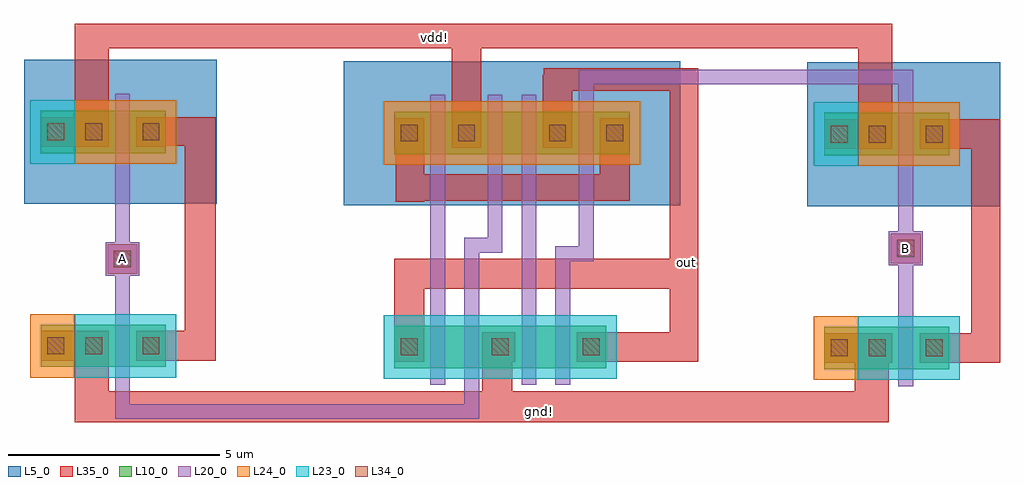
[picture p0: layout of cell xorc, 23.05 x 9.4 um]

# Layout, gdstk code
from math import pi, radians
import gdstk
lib = gdstk.Library(unit=1e-6, precision=1e-09)
def R(c, l, rs):  # rectangles x0, y0, x1, y1
    for r in rs: c.add(gdstk.rectangle(r[:2], r[2:], *l))
L5_0 = (5, 0)
L10_0 = (10, 0)
L20_0 = (20, 0)
L23_0 = (23, 0)
L24_0 = (24, 0)
L34_0 = (34, 0)
L35_0 = (35, 0)

nmos4_cdns_713966820610 = lib.new_cell('nmos4_CDNS_713966820610')
R(nmos4_cdns_713966820610, L10_0, [(0,0.85,1,0.9), (0,1.15,1,1.65)])
R(nmos4_cdns_713966820610, L23_0, [(-0.25,0.6,1.25,1.9)])
nmos4_cdns_713966820610.add(gdstk.FlexPath([(1,1.025),(1.4,1.025)], 0.35, ends="flush", simple_path=True, layer=20, datatype=0))  # L20_0
nmos4_cdns_713966820610.add(gdstk.FlexPath([(-0.4,1.025),(0,1.025)], 0.35, ends="flush", simple_path=True, layer=20, datatype=0))  # L20_0
nmos4_cdns_713966820610.add(gdstk.FlexPath([(0,1.025),(1,1.025)], 0.35, ends="flush", simple_path=True, layer=20, datatype=0))  # L20_0
nmos4_cdns_713966820610.add(gdstk.FlexPath([(0,1.025),(1,1.025)], 0.35, ends="flush", simple_path=True, layer=10, datatype=0))  # L10_0

nmos4_cdns_713966820611 = lib.new_cell('nmos4_CDNS_713966820611')
R(nmos4_cdns_713966820611, L10_0, [(0,-0.2,1,0), (0,0.35,1,0.9), (0,1.15,1,1.7)])
R(nmos4_cdns_713966820611, L23_0, [(-0.25,-0.1,1.25,2.3)])
R(nmos4_cdns_713966820611, L24_0, [(-0.25,-1.15,1.25,-0.1)])
R(nmos4_cdns_713966820611, L34_0, [(0.3,-0.75,0.7,-0.35), (0.3,0.15,0.7,0.55), (0.3,1.5,0.7,1.9)])
R(nmos4_cdns_713966820611, L35_0, [(0.15,-0.2,0.85,0)])
nmos4_cdns_713966820611.add(gdstk.FlexPath([(1,1.025),(1.4,1.025)], 0.35, ends="flush", simple_path=True, layer=20, datatype=0))  # L20_0
nmos4_cdns_713966820611.add(gdstk.FlexPath([(-0.4,1.025),(0,1.025)], 0.35, ends="flush", simple_path=True, layer=20, datatype=0))  # L20_0
nmos4_cdns_713966820611.add(gdstk.FlexPath([(0,1.025),(1,1.025)], 0.35, ends="flush", simple_path=True, layer=20, datatype=0))  # L20_0
nmos4_cdns_713966820611.add(gdstk.FlexPath([(0,-0.55),(1,-0.55)], 0.7, ends="flush", simple_path=True, layer=10, datatype=0))  # L10_0
nmos4_cdns_713966820611.add(gdstk.FlexPath([(0,1.7),(1,1.7)], 0.7, ends="flush", simple_path=True, layer=10, datatype=0))  # L10_0
nmos4_cdns_713966820611.add(gdstk.FlexPath([(0,0.35),(1,0.35)], 0.7, ends="flush", simple_path=True, layer=10, datatype=0))  # L10_0
nmos4_cdns_713966820611.add(gdstk.FlexPath([(0,1.025),(1,1.025)], 0.35, ends="flush", simple_path=True, layer=10, datatype=0))  # L10_0
nmos4_cdns_713966820611.add(gdstk.FlexPath([(0.15,-0.55),(0.85,-0.55)], 0.7, ends="flush", simple_path=True, layer=35, datatype=0))  # L35_0
nmos4_cdns_713966820611.add(gdstk.FlexPath([(0.15,1.7),(0.85,1.7)], 0.7, ends="flush", simple_path=True, layer=35, datatype=0))  # L35_0
nmos4_cdns_713966820611.add(gdstk.FlexPath([(0.15,0.35),(0.85,0.35)], 0.7, ends="flush", simple_path=True, layer=35, datatype=0))  # L35_0
nmos4_cdns_713966820611.add(gdstk.Label('B', (0.5,-0.55), layer=61, texttype=0))
nmos4_cdns_713966820611.add(gdstk.Label('D', (0.5,1.7), layer=61, texttype=0))
nmos4_cdns_713966820611.add(gdstk.Label('S', (0.5,0.35), layer=61, texttype=0))

nmos4_cdns_713966820612 = lib.new_cell('nmos4_CDNS_713966820612')
R(nmos4_cdns_713966820612, L10_0, [(0,-0.15,1,0.9), (0,1.15,1,1.2)])
R(nmos4_cdns_713966820612, L23_0, [(-0.25,-0.25,1.25,1.45)])
R(nmos4_cdns_713966820612, L34_0, [(0.3,0.15,0.7,0.55)])
nmos4_cdns_713966820612.add(gdstk.FlexPath([(1,1.025),(1.4,1.025)], 0.35, ends="flush", simple_path=True, layer=20, datatype=0))  # L20_0
nmos4_cdns_713966820612.add(gdstk.FlexPath([(-0.4,1.025),(0,1.025)], 0.35, ends="flush", simple_path=True, layer=20, datatype=0))  # L20_0
nmos4_cdns_713966820612.add(gdstk.FlexPath([(0,1.025),(1,1.025)], 0.35, ends="flush", simple_path=True, layer=20, datatype=0))  # L20_0
nmos4_cdns_713966820612.add(gdstk.FlexPath([(0,0.35),(1,0.35)], 0.7, ends="flush", simple_path=True, layer=10, datatype=0))  # L10_0
nmos4_cdns_713966820612.add(gdstk.FlexPath([(0,1.025),(1,1.025)], 0.35, ends="flush", simple_path=True, layer=10, datatype=0))  # L10_0
nmos4_cdns_713966820612.add(gdstk.FlexPath([(0.15,0.35),(0.85,0.35)], 0.7, ends="flush", simple_path=True, layer=35, datatype=0))  # L35_0
nmos4_cdns_713966820612.add(gdstk.Label('S', (0.5,0.35), layer=61, texttype=0))

pmos4_cdns_713966820613 = lib.new_cell('pmos4_CDNS_713966820613')
R(pmos4_cdns_713966820613, L5_0, [(-1.2,-1.3,2.2,3.25), (-1.2,-1.3,2.2,3.25)])
R(pmos4_cdns_713966820613, L10_0, [(0,-0.2,1,0), (0,0.35,1,0.9), (0,1.15,1,1.7)])
R(pmos4_cdns_713966820613, L23_0, [(-0.25,-1.15,1.25,-0.1)])
R(pmos4_cdns_713966820613, L24_0, [(-0.25,-0.1,1.25,2.3)])
R(pmos4_cdns_713966820613, L34_0, [(0.3,-0.75,0.7,-0.35), (0.3,0.15,0.7,0.55), (0.3,1.5,0.7,1.9)])
R(pmos4_cdns_713966820613, L35_0, [(0.15,-0.2,0.85,0)])
pmos4_cdns_713966820613.add(gdstk.FlexPath([(1,1.025),(1.4,1.025)], 0.35, ends="flush", simple_path=True, layer=20, datatype=0))  # L20_0
pmos4_cdns_713966820613.add(gdstk.FlexPath([(-0.4,1.025),(0,1.025)], 0.35, ends="flush", simple_path=True, layer=20, datatype=0))  # L20_0
pmos4_cdns_713966820613.add(gdstk.FlexPath([(0,1.025),(1,1.025)], 0.35, ends="flush", simple_path=True, layer=20, datatype=0))  # L20_0
pmos4_cdns_713966820613.add(gdstk.FlexPath([(0,-0.55),(1,-0.55)], 0.7, ends="flush", simple_path=True, layer=10, datatype=0))  # L10_0
pmos4_cdns_713966820613.add(gdstk.FlexPath([(0,1.7),(1,1.7)], 0.7, ends="flush", simple_path=True, layer=10, datatype=0))  # L10_0
pmos4_cdns_713966820613.add(gdstk.FlexPath([(0,0.35),(1,0.35)], 0.7, ends="flush", simple_path=True, layer=10, datatype=0))  # L10_0
pmos4_cdns_713966820613.add(gdstk.FlexPath([(0,1.025),(1,1.025)], 0.35, ends="flush", simple_path=True, layer=10, datatype=0))  # L10_0
pmos4_cdns_713966820613.add(gdstk.FlexPath([(0.15,-0.55),(0.85,-0.55)], 0.7, ends="flush", simple_path=True, layer=35, datatype=0))  # L35_0
pmos4_cdns_713966820613.add(gdstk.FlexPath([(0.15,1.7),(0.85,1.7)], 0.7, ends="flush", simple_path=True, layer=35, datatype=0))  # L35_0
pmos4_cdns_713966820613.add(gdstk.FlexPath([(0.15,0.35),(0.85,0.35)], 0.7, ends="flush", simple_path=True, layer=35, datatype=0))  # L35_0
pmos4_cdns_713966820613.add(gdstk.Label('B', (0.5,-0.55), layer=61, texttype=0))
pmos4_cdns_713966820613.add(gdstk.Label('D', (0.5,1.7), layer=61, texttype=0))
pmos4_cdns_713966820613.add(gdstk.Label('S', (0.5,0.35), layer=61, texttype=0))

nmos4_cdns_713966820614 = lib.new_cell('nmos4_CDNS_713966820614')
R(nmos4_cdns_713966820614, L10_0, [(0,0.4,1,0.9), (0,1.15,1,1.7)])
R(nmos4_cdns_713966820614, L23_0, [(-0.25,0.15,1.25,2.3)])
R(nmos4_cdns_713966820614, L34_0, [(0.3,1.5,0.7,1.9)])
nmos4_cdns_713966820614.add(gdstk.FlexPath([(1,1.025),(1.4,1.025)], 0.35, ends="flush", simple_path=True, layer=20, datatype=0))  # L20_0
nmos4_cdns_713966820614.add(gdstk.FlexPath([(-0.4,1.025),(0,1.025)], 0.35, ends="flush", simple_path=True, layer=20, datatype=0))  # L20_0
nmos4_cdns_713966820614.add(gdstk.FlexPath([(0,1.025),(1,1.025)], 0.35, ends="flush", simple_path=True, layer=20, datatype=0))  # L20_0
nmos4_cdns_713966820614.add(gdstk.FlexPath([(0,1.7),(1,1.7)], 0.7, ends="flush", simple_path=True, layer=10, datatype=0))  # L10_0
nmos4_cdns_713966820614.add(gdstk.FlexPath([(0,1.025),(1,1.025)], 0.35, ends="flush", simple_path=True, layer=10, datatype=0))  # L10_0
nmos4_cdns_713966820614.add(gdstk.FlexPath([(0.15,1.7),(0.85,1.7)], 0.7, ends="flush", simple_path=True, layer=35, datatype=0))  # L35_0
nmos4_cdns_713966820614.add(gdstk.Label('D', (0.5,1.7), layer=61, texttype=0))

nmos4_cdns_713966820615 = lib.new_cell('nmos4_CDNS_713966820615')
R(nmos4_cdns_713966820615, L10_0, [(0,0.85,1,0.9), (0,1.15,1,1.7)])
R(nmos4_cdns_713966820615, L23_0, [(-0.25,0.6,1.25,2.3)])
R(nmos4_cdns_713966820615, L34_0, [(0.3,1.5,0.7,1.9)])
nmos4_cdns_713966820615.add(gdstk.FlexPath([(1,1.025),(1.4,1.025)], 0.35, ends="flush", simple_path=True, layer=20, datatype=0))  # L20_0
nmos4_cdns_713966820615.add(gdstk.FlexPath([(-0.4,1.025),(0,1.025)], 0.35, ends="flush", simple_path=True, layer=20, datatype=0))  # L20_0
nmos4_cdns_713966820615.add(gdstk.FlexPath([(0,1.025),(1,1.025)], 0.35, ends="flush", simple_path=True, layer=20, datatype=0))  # L20_0
nmos4_cdns_713966820615.add(gdstk.FlexPath([(0,1.7),(1,1.7)], 0.7, ends="flush", simple_path=True, layer=10, datatype=0))  # L10_0
nmos4_cdns_713966820615.add(gdstk.FlexPath([(0,1.025),(1,1.025)], 0.35, ends="flush", simple_path=True, layer=10, datatype=0))  # L10_0
nmos4_cdns_713966820615.add(gdstk.FlexPath([(0.15,1.7),(0.85,1.7)], 0.7, ends="flush", simple_path=True, layer=35, datatype=0))  # L35_0
nmos4_cdns_713966820615.add(gdstk.Label('D', (0.5,1.7), layer=61, texttype=0))

pmos4_cdns_713966820616 = lib.new_cell('pmos4_CDNS_713966820616')
R(pmos4_cdns_713966820616, L5_0, [(-1.2,-0.35,2.2,2.85), (-1.2,-0.35,2.2,2.85)])
R(pmos4_cdns_713966820616, L10_0, [(0,0.85,1,0.9), (0,1.15,1,1.65)])
R(pmos4_cdns_713966820616, L24_0, [(-0.25,0.6,1.25,1.9)])
pmos4_cdns_713966820616.add(gdstk.FlexPath([(1,1.025),(1.4,1.025)], 0.35, ends="flush", simple_path=True, layer=20, datatype=0))  # L20_0
pmos4_cdns_713966820616.add(gdstk.FlexPath([(-0.4,1.025),(0,1.025)], 0.35, ends="flush", simple_path=True, layer=20, datatype=0))  # L20_0
pmos4_cdns_713966820616.add(gdstk.FlexPath([(0,1.025),(1,1.025)], 0.35, ends="flush", simple_path=True, layer=20, datatype=0))  # L20_0
pmos4_cdns_713966820616.add(gdstk.FlexPath([(0,1.025),(1,1.025)], 0.35, ends="flush", simple_path=True, layer=10, datatype=0))  # L10_0

pmos4_cdns_713966820617 = lib.new_cell('pmos4_CDNS_713966820617')
R(pmos4_cdns_713966820617, L5_0, [(-1.2,-1.2,2.2,3.25), (-1.2,-1.2,2.2,3.25)])
R(pmos4_cdns_713966820617, L10_0, [(0,-0.15,1,0.9), (0,1.15,1,1.7)])
R(pmos4_cdns_713966820617, L24_0, [(-0.25,-0.25,1.25,2.3)])
R(pmos4_cdns_713966820617, L34_0, [(0.3,0.15,0.7,0.55), (0.3,1.5,0.7,1.9)])
pmos4_cdns_713966820617.add(gdstk.FlexPath([(1,1.025),(1.4,1.025)], 0.35, ends="flush", simple_path=True, layer=20, datatype=0))  # L20_0
pmos4_cdns_713966820617.add(gdstk.FlexPath([(-0.4,1.025),(0,1.025)], 0.35, ends="flush", simple_path=True, layer=20, datatype=0))  # L20_0
pmos4_cdns_713966820617.add(gdstk.FlexPath([(0,1.025),(1,1.025)], 0.35, ends="flush", simple_path=True, layer=20, datatype=0))  # L20_0
pmos4_cdns_713966820617.add(gdstk.FlexPath([(0,1.7),(1,1.7)], 0.7, ends="flush", simple_path=True, layer=10, datatype=0))  # L10_0
pmos4_cdns_713966820617.add(gdstk.FlexPath([(0,0.35),(1,0.35)], 0.7, ends="flush", simple_path=True, layer=10, datatype=0))  # L10_0
pmos4_cdns_713966820617.add(gdstk.FlexPath([(0,1.025),(1,1.025)], 0.35, ends="flush", simple_path=True, layer=10, datatype=0))  # L10_0
pmos4_cdns_713966820617.add(gdstk.FlexPath([(0.15,1.7),(0.85,1.7)], 0.7, ends="flush", simple_path=True, layer=35, datatype=0))  # L35_0
pmos4_cdns_713966820617.add(gdstk.FlexPath([(0.15,0.35),(0.85,0.35)], 0.7, ends="flush", simple_path=True, layer=35, datatype=0))  # L35_0
pmos4_cdns_713966820617.add(gdstk.Label('D', (0.5,1.7), layer=61, texttype=0))
pmos4_cdns_713966820617.add(gdstk.Label('S', (0.5,0.35), layer=61, texttype=0))

pmos4_cdns_713966820618 = lib.new_cell('pmos4_CDNS_713966820618')
R(pmos4_cdns_713966820618, L5_0, [(-1.2,-1.2,2.2,2.4), (-1.2,-1.2,2.2,2.4)])
R(pmos4_cdns_713966820618, L10_0, [(0,0.35,1,0.9), (0,1.15,1,1.2)])
R(pmos4_cdns_713966820618, L24_0, [(-0.25,-0.25,1.25,1.45)])
R(pmos4_cdns_713966820618, L34_0, [(0.3,0.15,0.7,0.55)])
pmos4_cdns_713966820618.add(gdstk.FlexPath([(1,1.025),(1.4,1.025)], 0.35, ends="flush", simple_path=True, layer=20, datatype=0))  # L20_0
pmos4_cdns_713966820618.add(gdstk.FlexPath([(-0.4,1.025),(0,1.025)], 0.35, ends="flush", simple_path=True, layer=20, datatype=0))  # L20_0
pmos4_cdns_713966820618.add(gdstk.FlexPath([(0,1.025),(1,1.025)], 0.35, ends="flush", simple_path=True, layer=20, datatype=0))  # L20_0
pmos4_cdns_713966820618.add(gdstk.FlexPath([(0,0.35),(1,0.35)], 0.7, ends="flush", simple_path=True, layer=10, datatype=0))  # L10_0
pmos4_cdns_713966820618.add(gdstk.FlexPath([(0,1.025),(1,1.025)], 0.35, ends="flush", simple_path=True, layer=10, datatype=0))  # L10_0
pmos4_cdns_713966820618.add(gdstk.FlexPath([(0.15,0.35),(0.85,0.35)], 0.7, ends="flush", simple_path=True, layer=35, datatype=0))  # L35_0
pmos4_cdns_713966820618.add(gdstk.Label('S', (0.5,0.35), layer=61, texttype=0))

pmos4_cdns_713966820619 = lib.new_cell('pmos4_CDNS_713966820619')
R(pmos4_cdns_713966820619, L5_0, [(-1.2,-0.35,2.2,3.25), (-1.2,-0.35,2.2,3.25)])
R(pmos4_cdns_713966820619, L10_0, [(0,0.85,1,0.9), (0,1.15,1,2.2)])
R(pmos4_cdns_713966820619, L24_0, [(-0.25,0.6,1.25,2.3)])
R(pmos4_cdns_713966820619, L34_0, [(0.3,1.5,0.7,1.9)])
pmos4_cdns_713966820619.add(gdstk.FlexPath([(1,1.025),(1.4,1.025)], 0.35, ends="flush", simple_path=True, layer=20, datatype=0))  # L20_0
pmos4_cdns_713966820619.add(gdstk.FlexPath([(-0.4,1.025),(0,1.025)], 0.35, ends="flush", simple_path=True, layer=20, datatype=0))  # L20_0
pmos4_cdns_713966820619.add(gdstk.FlexPath([(0,1.025),(1,1.025)], 0.35, ends="flush", simple_path=True, layer=20, datatype=0))  # L20_0
pmos4_cdns_713966820619.add(gdstk.FlexPath([(0,1.7),(1,1.7)], 0.7, ends="flush", simple_path=True, layer=10, datatype=0))  # L10_0
pmos4_cdns_713966820619.add(gdstk.FlexPath([(0,1.025),(1,1.025)], 0.35, ends="flush", simple_path=True, layer=10, datatype=0))  # L10_0
pmos4_cdns_713966820619.add(gdstk.FlexPath([(0.15,1.7),(0.85,1.7)], 0.7, ends="flush", simple_path=True, layer=35, datatype=0))  # L35_0
pmos4_cdns_713966820619.add(gdstk.Label('D', (0.5,1.7), layer=61, texttype=0))

p1_c_cdns_713966820610 = lib.new_cell('P1_C_CDNS_713966820610')
R(p1_c_cdns_713966820610, L20_0, [(-0.4,-0.4,0.4,0.4)])
R(p1_c_cdns_713966820610, L34_0, [(-0.2,-0.2,0.2,0.2)])
R(p1_c_cdns_713966820610, L35_0, [(-0.35,-0.35,0.35,0.35)])

xorc = lib.new_cell('xorc')
R(xorc, L35_0, [(1.2,0,2,2.15), (1.775,0,19.975,0.725), (10.825,0,11.525,2.125), (19.625,0,20.425,2.1), (21.15,1.4,23.05,2.1), (22.375,1.4,23.05,7.15), (8.75,1.425,9.45,3.5), (13.05,1.425,15.425,2.125), (15.25,1.425,15.925,8.2), (2.65,1.45,4.525,2.15), (3.8,1.45,4.525,7.2), (8.75,3.15,15.4,3.85), (8.775,5.2,9.45,7.175), (8.775,5.225,14.3,5.85), (13.6,5.225,14.3,7.175), (19.7,6.45,20.5,8.875), (21.15,6.45,23.05,7.15), (10.1,6.475,10.8,8.875), (12.25,6.475,12.95,8.2), (1.2,6.5,2,8.9), (2.65,6.525,4.525,7.2), (12.275,7.825,15.925,8.35), (1.2,8.825,20.5,9.4)])
xorc.add(gdstk.FlexPath([(20.825,8.15),(20.825,7.7)], 0.35, ends=(0.175, 0), simple_path=True, layer=20, datatype=0))  # L20_0
xorc.add(gdstk.FlexPath([(13.275,8.15),(20.825,8.15)], 0.35, ends="extended", simple_path=True, layer=20, datatype=0))  # L20_0
xorc.add(gdstk.FlexPath([(13.275,7.725),(13.275,8.15)], 0.35, ends=(0, 0.175), simple_path=True, layer=20, datatype=0))  # L20_0
xorc.add(gdstk.FlexPath([(10.575,0.25),(10.575,0.875)], 0.35, ends=(0.175, 0), simple_path=True, layer=20, datatype=0))  # L20_0
xorc.add(gdstk.FlexPath([(2.325,0.25),(10.575,0.25)], 0.35, ends="extended", simple_path=True, layer=20, datatype=0))  # L20_0
xorc.add(gdstk.FlexPath([(2.325,0.9),(2.325,0.25)], 0.35, ends=(0, 0.175), simple_path=True, layer=20, datatype=0))  # L20_0
xorc.add(gdstk.FlexPath([(20.825,5.9),(20.825,2.65)], 0.35, ends="flush", simple_path=True, layer=20, datatype=0))  # L20_0
xorc.add(gdstk.FlexPath([(12.725,3.975),(12.725,2.675)], 0.35, ends=(0.175, 0), simple_path=True, layer=20, datatype=0))  # L20_0
xorc.add(gdstk.FlexPath([(13.275,3.975),(12.725,3.975)], 0.35, ends="extended", simple_path=True, layer=20, datatype=0))  # L20_0
xorc.add(gdstk.FlexPath([(13.275,5.925),(13.275,3.975)], 0.35, ends=(0, 0.175), simple_path=True, layer=20, datatype=0))  # L20_0
xorc.add(gdstk.FlexPath([(11.925,5.925),(11.925,2.675)], 0.35, ends="flush", simple_path=True, layer=20, datatype=0))  # L20_0
xorc.add(gdstk.FlexPath([(10.575,4.175),(10.575,2.675)], 0.35, ends=(0.175, 0), simple_path=True, layer=20, datatype=0))  # L20_0
xorc.add(gdstk.FlexPath([(11.125,4.175),(10.575,4.175)], 0.35, ends="extended", simple_path=True, layer=20, datatype=0))  # L20_0
xorc.add(gdstk.FlexPath([(11.125,5.925),(11.125,4.175)], 0.35, ends=(0, 0.175), simple_path=True, layer=20, datatype=0))  # L20_0
xorc.add(gdstk.FlexPath([(9.775,5.925),(9.775,2.675)], 0.35, ends="flush", simple_path=True, layer=20, datatype=0))  # L20_0
xorc.add(gdstk.FlexPath([(2.325,3.85),(2.325,2.7)], 0.35, ends="flush", simple_path=True, layer=20, datatype=0))  # L20_0
xorc.add(gdstk.FlexPath([(2.325,5.95),(2.325,3.85)], 0.35, ends="flush", simple_path=True, layer=20, datatype=0))  # L20_0
xorc.add(gdstk.Reference(nmos4_cdns_713966820610, (10.9,2.275), rotation=3*pi/2))
xorc.add(gdstk.Reference(nmos4_cdns_713966820611, (1.3,2.3), rotation=3*pi/2))
xorc.add(gdstk.Reference(nmos4_cdns_713966820611, (19.8,2.25), rotation=3*pi/2))
xorc.add(gdstk.Reference(nmos4_cdns_713966820612, (11.6,2.275), rotation=3*pi/2, x_reflection=True))
xorc.add(gdstk.Reference(pmos4_cdns_713966820613, (1.3,7.35), rotation=3*pi/2))
xorc.add(gdstk.Reference(pmos4_cdns_713966820613, (19.8,7.3), rotation=3*pi/2))
xorc.add(gdstk.Reference(nmos4_cdns_713966820614, (10.8,2.275), rotation=3*pi/2, x_reflection=True))
xorc.add(gdstk.Reference(nmos4_cdns_713966820615, (11.7,2.275), rotation=3*pi/2))
xorc.add(gdstk.Reference(pmos4_cdns_713966820616, (10.1,7.325), rotation=3*pi/2))
xorc.add(gdstk.Reference(pmos4_cdns_713966820617, (10.8,7.325), rotation=3*pi/2, x_reflection=True))
xorc.add(gdstk.Reference(pmos4_cdns_713966820618, (14.3,7.325), rotation=3*pi/2, x_reflection=True))
xorc.add(gdstk.Reference(pmos4_cdns_713966820619, (10.9,7.325), rotation=3*pi/2))
xorc.add(gdstk.Reference(p1_c_cdns_713966820610, (20.825,4.1)))
xorc.add(gdstk.Reference(p1_c_cdns_713966820610, (2.325,3.85)))
xorc.add(gdstk.Label('vdd!', (9.7,9.075), layer=61, texttype=2))
xorc.add(gdstk.Label('gnd!', (12.175,0.25), layer=61, texttype=2))
xorc.add(gdstk.Label('B', (20.825,4.1), layer=61, texttype=2))
xorc.add(gdstk.Label('A', (2.325,3.85), layer=61, texttype=2))
xorc.add(gdstk.Label('out', (15.65,3.775), layer=61, texttype=2))

lib.write_gds('xorc.gds')
